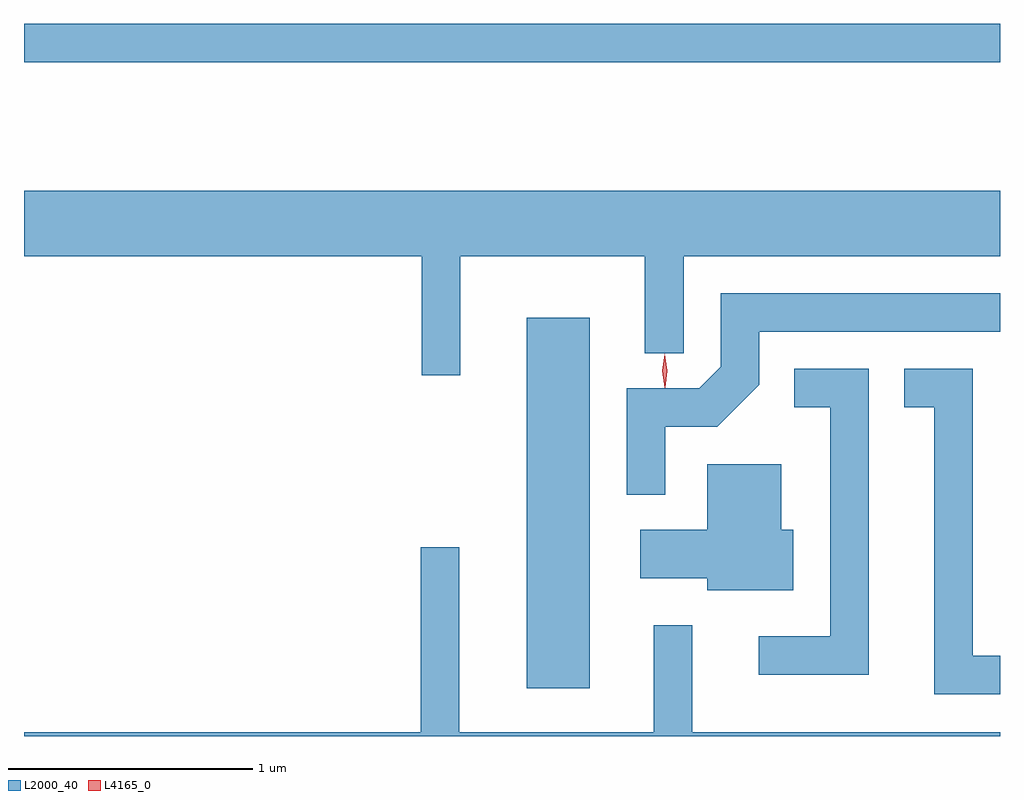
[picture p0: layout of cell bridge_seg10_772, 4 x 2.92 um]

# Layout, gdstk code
import gdstk
lib = gdstk.Library(unit=1e-6, precision=1e-09)
def R(c, l, rs):  # rectangles x0, y0, x1, y1
    for r in rs: c.add(gdstk.rectangle(r[:2], r[2:], *l))
def P(c, l, *ps):  # polygons
    for p in ps: c.add(gdstk.Polygon(p, *l))
L2000_40 = (2000, 40)
L4165_0 = (4165, 0)

bridge_seg10_772 = lib.new_cell('bridge_seg10_772')
R(bridge_seg10_772, L2000_40, [(426.876,2118.806,427.134,2120.324), (424.816,2121.371,428.816,2121.529)])
P(bridge_seg10_772, L2000_40, [(426.604,2120.576),(427.361,2120.576),(427.361,2120.178),(427.519,2120.178),(427.519,2120.576),(428.816,2120.576),(428.816,2120.844),(424.816,2120.844),(424.816,2120.576),(426.446,2120.576),(426.446,2120.088),(426.604,2120.088)],
  [(427.444,2119.876),(427.657,2119.876),(427.829,2120.049),(427.829,2120.266),(428.816,2120.266),(428.816,2120.424),(427.671,2120.424),(427.671,2120.122),(427.584,2120.034),(427.286,2120.034),(427.286,2119.598),(427.444,2119.598)],
  [(428.816,2118.939),(428.704,2118.939),(428.704,2120.114),(428.423,2120.114),(428.423,2119.956),(428.546,2119.956),(428.546,2118.781),(428.816,2118.781)],
  [(428.279,2120.114),(427.973,2120.114),(427.973,2119.956),(428.121,2119.956),(428.121,2119.019),(427.828,2119.019),(427.828,2118.861),(428.279,2118.861)],
  [(427.969,2119.454),(427.919,2119.454),(427.919,2119.724),(427.616,2119.724),(427.616,2119.454),(427.341,2119.454),(427.341,2119.256),(427.616,2119.256),(427.616,2119.206),(427.969,2119.206)],
  [(428.816,2118.624),(427.554,2118.624),(427.554,2119.063),(427.396,2119.063),(427.396,2118.624),(426.599,2118.624),(426.599,2119.383),(426.441,2119.383),(426.441,2118.624),(424.816,2118.624),(424.816,2118.608),(428.816,2118.608)])
P(bridge_seg10_772, L4165_0, [(427.443,2120.037),(427.432,2120.106),(427.441,2120.175),(427.441,2120.176),(427.442,2120.175),(427.452,2120.106),(427.444,2120.037),(427.444,2120.037)],
  [(427.443,2120.039),(427.443,2120.039),(427.432,2120.106),(427.441,2120.172),(427.441,2120.172),(427.442,2120.172),(427.452,2120.106),(427.444,2120.039)])

lib.write_gds('bridge_seg10_772.gds')
